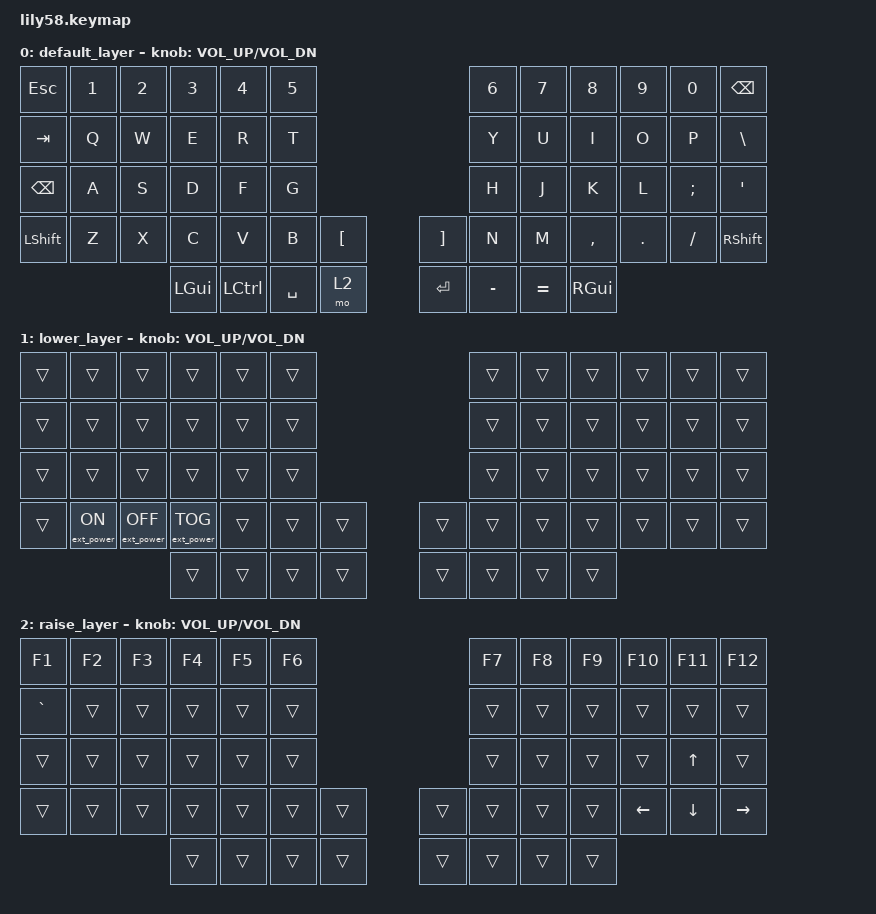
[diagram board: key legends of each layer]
/*
 * Copyright (c) 2020 The ZMK Contributors
 *
 * SPDX-License-Identifier: MIT
 */

#include <behaviors.dtsi>
#include <dt-bindings/zmk/keys.h>
#include <dt-bindings/zmk/bt.h>
#include <dt-bindings/zmk/ext_power.h>

/ {
	keymap {
		compatible = "zmk,keymap";

		default_layer {
// ------------------------------------------------------------------------------------------------------------
// |  ESC  |  1  |  2  |  3   |  4   |  5   |                   |  6   |  7    |  8    |  9   |   0   |  BSPC |
// |  TAB  |  Q  |  W  |  E   |  R   |  T   |                   |  Y   |  U    |  I    |  O   |   P   |   \   |
// |  BSPC |  A  |  S  |  D   |  F   |  G   |                   |  H   |  J    |  K    |  L   |   :   |   '   |
// | SHIFT |  Z  |  X  |  C   |  V   |  B   |   "["  |  |  "]"  |  N   |  M    |  ,    |  .   |   /   | SHIFT |
//                     | CTRL | LGUI |SPACE |  RAISE |  | ENTER | RGUI |   -   |   =   |
			bindings = <
&kp ESC   &kp N1 &kp N2 &kp N3   &kp N4   &kp N5                     &kp N6 &kp N7   &kp N8    &kp N9  &kp N0   &kp BSPC
&kp TAB  &kp Q  &kp W  &kp E    &kp R    &kp T                      &kp Y  &kp U    &kp I    &kp O   &kp P   &kp BSLH
&kp BSPC &kp A  &kp S  &kp D    &kp F    &kp G                      &kp H  &kp J    &kp K     &kp L   &kp SEMI &kp SQT
&kp LSHFT &kp Z  &kp X  &kp C    &kp V    &kp B  &kp LBKT   &kp RBKT &kp N  &kp M    &kp COMMA &kp DOT &kp FSLH &kp RSHFT
                        &kp LGUI &kp LCTRL &kp SPACE &mo 2  &kp RET  &kp MINUS &kp EQUAL &kp RGUI
			>;

			sensor-bindings = <&inc_dec_kp C_VOL_UP C_VOL_DN>;
		};

		lower_layer {
// ------------------------------------------------------------------------------------------------------------
// |       |     |     |      |      |      |                   |      |       |       |      |       |       |
// |       |     |     |      |      |      |                   |      |       |       |      |       |       |
// |       |     |     |      |      |      |                   |      |       |       |      |       |       |
// |       |     |     |      |      |      |        |  |       |      |       |       |      |       |       |
//                     |      |      |      |        |  |       |      |       |       |
			bindings = <
&trans &trans     &trans      &trans      &trans &trans                 &trans    &trans    &trans          &trans    &trans    &trans
&trans     &trans           &trans            &trans           &trans       &trans                     &trans    &trans   &trans          &trans   &trans   &trans
&trans  &trans        &trans          &trans          &trans   &trans                    &trans &trans  &trans &trans  &trans  &trans
&trans     &ext_power EP_ON &ext_power EP_OFF &ext_power EP_TOG &trans       &trans    &trans   &trans    &trans    &trans &trans     &trans  &trans  &trans
                                              &trans            &trans       &trans    &trans   &trans    &trans    &trans    &trans
			>;

			sensor-bindings = <&inc_dec_kp C_VOL_UP C_VOL_DN>;
		};

		raise_layer {
// ------------------------------------------------------------------------------------------------------------
// |  F1   |  F2 |  F3 |  F4  |  F5  |  F6  |                   |  F7  |  F8   |  F9   |  F10 |  F11  |  F12  |
// |   `   |     |     |      |      |      |                   |      |       |       |      |       |       |
// |       |     |     |      |      |      |                   |      |       |       |      |   ^   |       |
// |       |     |     |      |      |      |        |  |       |      |       |       |  <-  |   v   |   ->  |
//                     |      |      |      |        |  |       |      |       |       |
			bindings = <
&kp F1     &kp F2           &kp F3            &kp F4            &kp F5       &kp F6                       &kp F7    &kp F8    &kp F9          &kp F10   &kp F11   &kp F12
&kp GRAVE &trans &trans &trans  &trans  &trans                       &trans      &trans    &trans    &trans   &trans    &trans
&trans    &trans &trans &trans  &trans  &trans                       &trans      &trans  &trans  &trans   &kp UP &trans
&trans    &trans &trans &trans &trans &trans   &trans   &trans    &trans &trans &trans &kp LEFT &kp DOWN  &kp RIGHT
                        &trans  &trans  &trans    &trans   &trans    &trans      &trans    &trans
			>;

			sensor-bindings = <&inc_dec_kp C_VOL_UP C_VOL_DN>;
		};
	};
};
